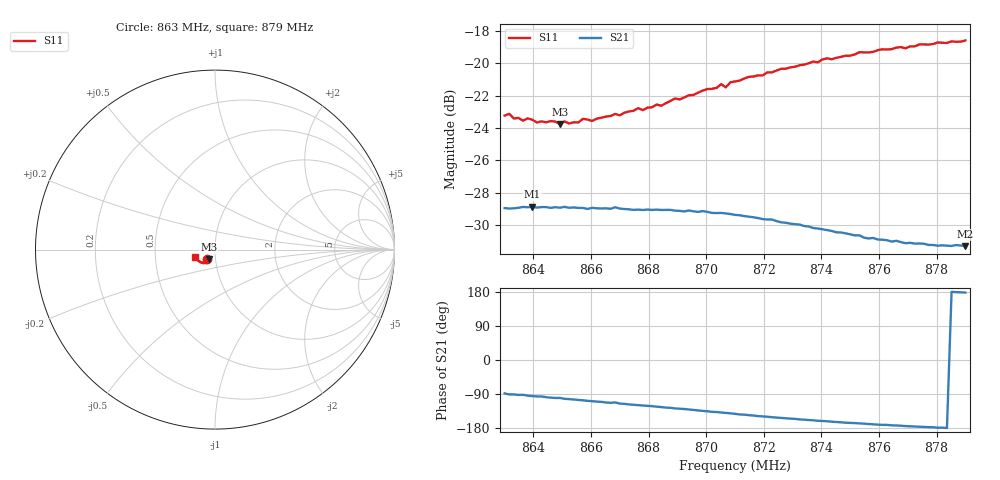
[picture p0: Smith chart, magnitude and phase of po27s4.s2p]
# HZ S RI R 50
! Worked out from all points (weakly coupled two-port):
!   101 points, 863 MHz to 879 MHz, reference 50 ohm
!   highest |S21| = -28.87 dB at 863.96 MHz (marker M1); lowest = -31.3 dB at 879 MHz (marker M2)
!   lowest |S11| = -23.8 dB at 864.92 MHz (marker M3), VSWR 1.14, Z = 46.3 - j5.07 ohm
!   |S11| at or under -10 dB: start of sweep to end of sweep
!   S12 and S22 are empty: the file has one direction only
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8.63e8  -0.0446 -0.0525  0.00109 -0.0357  0 0  0 0
8.6316e8  -0.045 -0.0533  -0.000482 -0.0356  0 0  0 0
8.6332e8  -0.0428 -0.0522  -0.000469 -0.0356  0 0  0 0
8.6396e8  -0.0408 -0.0531  -0.00323 -0.0359  0 0  0 0
8.6492e8  -0.0351 -0.0545  -0.00626 -0.0352  0 0  0 0
8.6508e8  -0.0363 -0.0552  -0.00776 -0.0351  0 0  0 0
8.6556e8  -0.0355 -0.0551  -0.00947 -0.0344  0 0  0 0
8.6572e8  -0.0348 -0.0576  -0.0101 -0.0343  0 0  0 0
8.6604e8  -0.0344 -0.0567  -0.0114 -0.0339  0 0  0 0
8.6764e8  -0.0357 -0.0633  -0.0172 -0.0308  0 0  0 0
8.678e8  -0.0351 -0.0624  -0.0176 -0.0305  0 0  0 0
8.6828e8  -0.0355 -0.0655  -0.0193 -0.0296  0 0  0 0
8.6844e8  -0.0353 -0.0649  -0.0198 -0.0291  0 0  0 0
8.6892e8  -0.038 -0.0679  -0.0215 -0.0277  0 0  0 0
8.6908e8  -0.0381 -0.0673  -0.0218 -0.0274  0 0  0 0
8.7036e8  -0.0437 -0.0716  -0.0253 -0.0234  0 0  0 0
8.7052e8  -0.0452 -0.0734  -0.0258 -0.0228  0 0  0 0
8.7068e8  -0.0447 -0.0714  -0.0262 -0.0222  0 0  0 0
8.71e8  -0.0476 -0.0738  -0.0268 -0.0209  0 0  0 0
8.7372e8  -0.0683 -0.0747  -0.0289 -0.011  0 0  0 0
8.7644e8  -0.0915 -0.0621  -0.0279 -0.00367  0 0  0 0
8.79e8  -0.1109 -0.0393  -0.0272 0.000987  0 0  0 0
